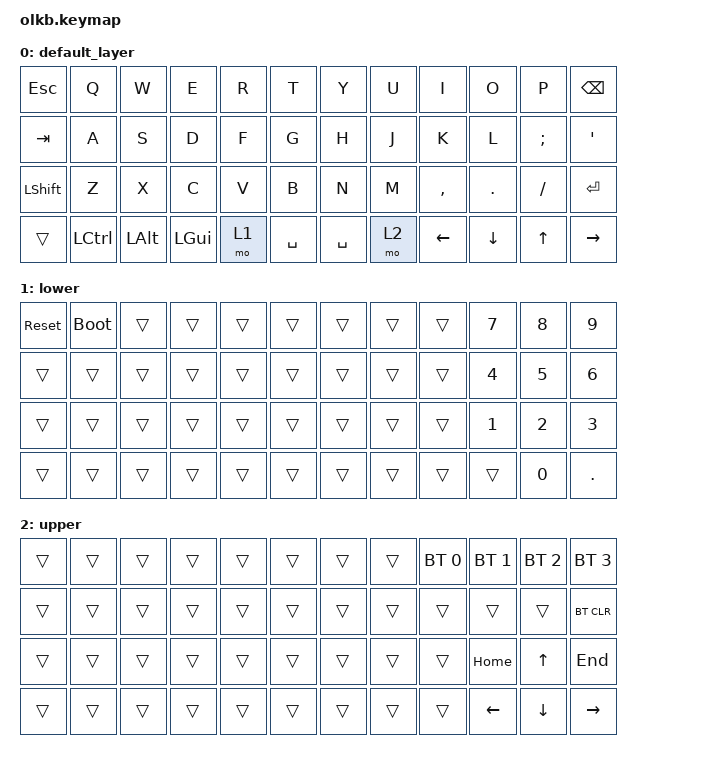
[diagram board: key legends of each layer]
#include <behaviors.dtsi>
#include <dt-bindings/zmk/bt.h>
#include <dt-bindings/zmk/keys.h>

/ {
    keymap {
        compatible = "zmk,keymap";

        default_layer {
            // -----------------------------------------------------------------------------------------
            // |  TAB  |  Q   |  W   |  E   |  R   |  T   |   Y   |  U    |  I   |  O   |   P   | BSPC  |
            // |  ESC  |  A   |  S   |  D   |  F   |  G   |   H   |  J    |  K   |  L   |   ;   |  '    |
            // | SHIFT |  Z   |  X   |  C   |  V   |  B   |   N   |  M    |  ,   |  .   |   /   |  RET  |
            // |       | LCTL | LALT | LGUI | LOWR |     SPACE    |  RAIS | LARW | DARW | UARW  |  RARW |

            bindings = <
&kp ESCAPE  &kp Q      &kp W     &kp E     &kp R  &kp T      &kp Y      &kp U  &kp I      &kp O     &kp P      &kp BSPC
&kp TAB     &kp A      &kp S     &kp D     &kp F  &kp G      &kp H      &kp J  &kp K      &kp L     &kp SEMI   &kp SQT
&kp LSHFT   &kp Z      &kp X     &kp C     &kp V  &kp B      &kp N      &kp M  &kp COMMA  &kp DOT   &kp SLASH  &kp RET
&trans      &kp LCTRL  &kp LALT  &kp LGUI  &mo 1  &kp SPACE  &kp SPACE  &mo 2  &kp LEFT   &kp DOWN  &kp UP     &kp RIGHT
            >;
        };

        lower {
            bindings = <
&sys_reset  &bootloader  &trans  &trans  &trans  &trans  &trans  &trans  &trans  &kp N7        &kp N8        &kp N9
&trans      &trans       &trans  &trans  &trans  &trans  &trans  &trans  &trans  &kp NUMBER_4  &kp N5        &kp NUMBER_6
&trans      &trans       &trans  &trans  &trans  &trans  &trans  &trans  &trans  &kp NUMBER_1  &kp NUMBER_2  &kp NUMBER_3
&trans      &trans       &trans  &trans  &trans  &trans  &trans  &trans  &trans  &trans        &kp N0        &kp PERIOD
            >;
        };

        upper {
            bindings = <
&trans  &trans  &trans  &trans  &trans  &trans  &trans  &trans  &bt BT_SEL 0  &bt BT_SEL 1    &bt BT_SEL 2    &bt BT_SEL 3
&trans  &trans  &trans  &trans  &trans  &trans  &trans  &trans  &trans        &trans          &trans          &bt BT_CLR
&trans  &trans  &trans  &trans  &trans  &trans  &trans  &trans  &trans        &kp HOME        &kp UP_ARROW    &kp END
&trans  &trans  &trans  &trans  &trans  &trans  &trans  &trans  &trans        &kp LEFT_ARROW  &kp DOWN_ARROW  &kp RIGHT
            >;
        };
    };
};
